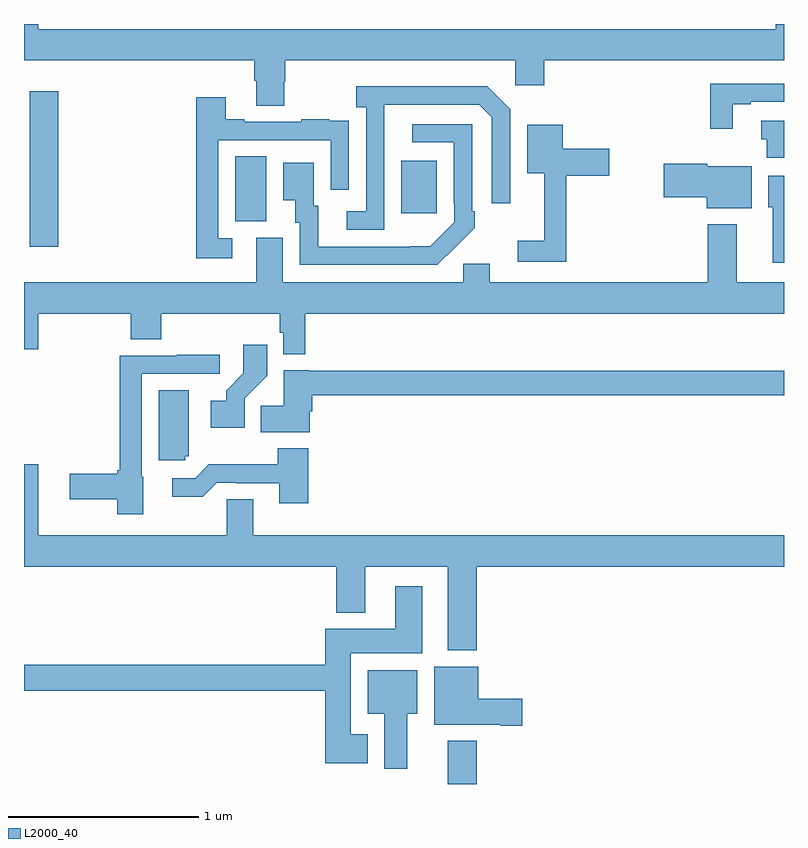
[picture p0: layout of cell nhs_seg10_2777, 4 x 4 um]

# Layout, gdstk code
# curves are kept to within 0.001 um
import gdstk
lib = gdstk.Library(unit=1e-6, precision=1e-09)
def R(c, l, rs):  # rectangles x0, y0, x1, y1
    for r in rs: c.add(gdstk.rectangle(r[:2], r[2:], *l))
def P(c, l, *ps):  # polygons
    for p in ps: c.add(gdstk.Polygon(p, *l))
L2000_40 = (2000, 40)

nhs_seg10_2777 = lib.new_cell('nhs_seg10_2777')
R(nhs_seg10_2777, L2000_40, [(263.231,1304.5,263.384,1304.728), (261.029,1307.328,261.179,1308.145), (262.112,1307.461,262.276,1307.804), (262.985,1307.505,263.173,1307.779)])
P(nhs_seg10_2777, L2000_40, [(262.371,1308.195),(262.376,1308.195),(262.376,1308.308),(263.586,1308.308),(263.586,1308.177),(263.738,1308.177),(263.738,1308.308),(265,1308.308),(265,1308.5),(264.957,1308.5),(264.957,1308.472),(261.076,1308.472),(261.076,1308.5),(261,1308.5),(261,1308.308),(262.211,1308.308),(262.211,1308.202),(262.223,1308.202),(262.223,1308.07),(262.371,1308.07)],
  [(264.73,1308.078),(264.826,1308.078),(264.826,1308.09),(265,1308.09),(265,1308.186),(264.613,1308.186),(264.613,1307.949),(264.73,1307.949)],
  [(262.896,1307.875),(262.897,1308.075),(263.397,1308.075),(263.463,1308.009),(263.463,1307.556),(263.559,1307.556),(263.559,1308.051),(263.438,1308.172),(262.749,1308.172),(262.749,1308.062),(262.8,1308.062),(262.8,1307.514),(262.698,1307.514),(262.698,1307.418),(262.896,1307.418)],
  [(262.096,1307.373),(262.023,1307.373),(262.023,1307.889),(262.614,1307.889),(262.614,1307.628),(262.71,1307.628),(262.71,1307.882),(262.709,1307.882),(262.709,1307.991),(262.607,1307.991),(262.607,1307.998),(262.459,1307.998),(262.459,1307.985),(262.159,1307.985),(262.159,1307.998),(262.063,1307.998),(262.063,1308.115),(261.907,1308.115),(261.907,1307.268),(262.096,1307.268)],
  [(265,1307.991),(264.879,1307.991),(264.879,1307.894),(264.91,1307.894),(264.91,1307.796),(265,1307.796)],
  [(263.267,1307.323),(263.268,1307.322),(263.373,1307.427),(263.373,1307.515),(263.358,1307.515),(263.358,1307.973),(263.043,1307.973),(263.043,1307.877),(263.262,1307.877),(263.262,1307.557),(263.265,1307.557),(263.265,1307.457),(263.137,1307.329),(262.549,1307.328),(262.549,1307.544),(262.525,1307.544),(262.525,1307.77),(262.364,1307.77),(262.364,1307.573),(262.427,1307.573),(262.427,1307.454),(262.452,1307.454),(262.452,1307.232),(263.176,1307.232)],
  [(263.855,1307.702),(264.079,1307.702),(264.079,1307.844),(263.836,1307.844),(263.836,1307.971),(263.648,1307.971),(263.648,1307.714),(263.738,1307.714),(263.738,1307.359),(263.598,1307.359),(263.598,1307.25),(263.855,1307.25)],
  [(264.829,1307.752),(264.597,1307.752),(264.597,1307.765),(264.366,1307.765),(264.366,1307.587),(264.593,1307.587),(264.593,1307.531),(264.829,1307.531)],
  [(265,1307.701),(264.917,1307.701),(264.917,1307.535),(264.941,1307.535),(264.941,1307.244),(265,1307.244)],
  [(262.481,1306.976),(265,1306.976),(265,1307.14),(264.751,1307.14),(264.751,1307.446),(264.599,1307.446),(264.599,1307.14),(263.452,1307.14),(263.452,1307.238),(263.313,1307.238),(263.313,1307.14),(262.363,1307.14),(262.363,1307.376),(262.223,1307.376),(262.223,1307.14),(261,1307.14),(261,1306.788),(261.076,1306.788),(261.076,1306.976),(261.562,1306.976),(261.562,1306.84),(261.722,1306.84),(261.722,1306.976),(262.345,1306.976),(262.345,1306.875),(262.365,1306.875),(262.365,1306.763),(262.481,1306.763)],
  [(262.161,1306.531),(262.28,1306.65),(262.28,1306.813),(262.155,1306.813),(262.155,1306.661),(262.064,1306.571),(262.064,1306.516),(261.984,1306.516),(261.984,1306.376),(262.161,1306.376)],
  [(261.628,1306.116),(261.621,1306.116),(261.621,1306.659),(262.029,1306.659),(262.029,1306.758),(261.805,1306.758),(261.805,1306.755),(261.505,1306.755),(261.505,1306.151),(261.492,1306.151),(261.492,1306.133),(261.24,1306.133),(261.24,1305.998),(261.492,1305.998),(261.492,1305.92),(261.628,1305.92)],
  [(262.504,1306.463),(262.517,1306.463),(262.517,1306.546),(265,1306.546),(265,1306.675),(262.5,1306.675),(262.5,1306.678),(262.367,1306.678),(262.367,1306.49),(262.246,1306.49),(262.246,1306.352),(262.504,1306.352)],
  [(261.849,1306.224),(261.868,1306.224),(261.868,1306.573),(261.71,1306.573),(261.71,1306.203),(261.849,1306.203)],
  [(262.496,1306.267),(262.336,1306.267),(262.336,1306.183),(261.973,1306.183),(261.9,1306.11),(261.779,1306.11),(261.779,1306.013),(261.941,1306.013),(262.014,1306.086),(262.114,1306.086),(262.114,1306.083),(262.343,1306.083),(262.343,1305.978),(262.496,1305.978)],
  [(263.384,1305.644),(265,1305.644),(265,1305.808),(262.207,1305.808),(262.207,1305.998),(262.068,1305.998),(262.068,1305.808),(261.076,1305.808),(261.076,1306.183),(261,1306.183),(261,1305.644),(262.643,1305.644),(262.643,1305.401),(262.795,1305.401),(262.795,1305.644),(263.231,1305.644),(263.231,1305.203),(263.384,1305.203)],
  [(262.81,1304.761),(262.72,1304.761),(262.72,1305.188),(263.095,1305.188),(263.095,1305.541),(262.955,1305.541),(262.955,1305.316),(262.586,1305.316),(262.586,1305.128),(261,1305.128),(261,1304.992),(262.586,1304.992),(262.586,1304.609),(262.81,1304.609)],
  [(263.623,1304.948),(263.392,1304.948),(263.392,1305.118),(263.159,1305.118),(263.159,1304.813),(263.51,1304.813),(263.51,1304.806),(263.623,1304.806)],
  [(263.017,1304.87),(263.071,1304.87),(263.071,1305.1),(262.808,1305.1),(262.808,1304.87),(262.895,1304.87),(262.895,1304.58),(263.017,1304.58)])

lib.write_gds('nhs_seg10_2777.gds')
